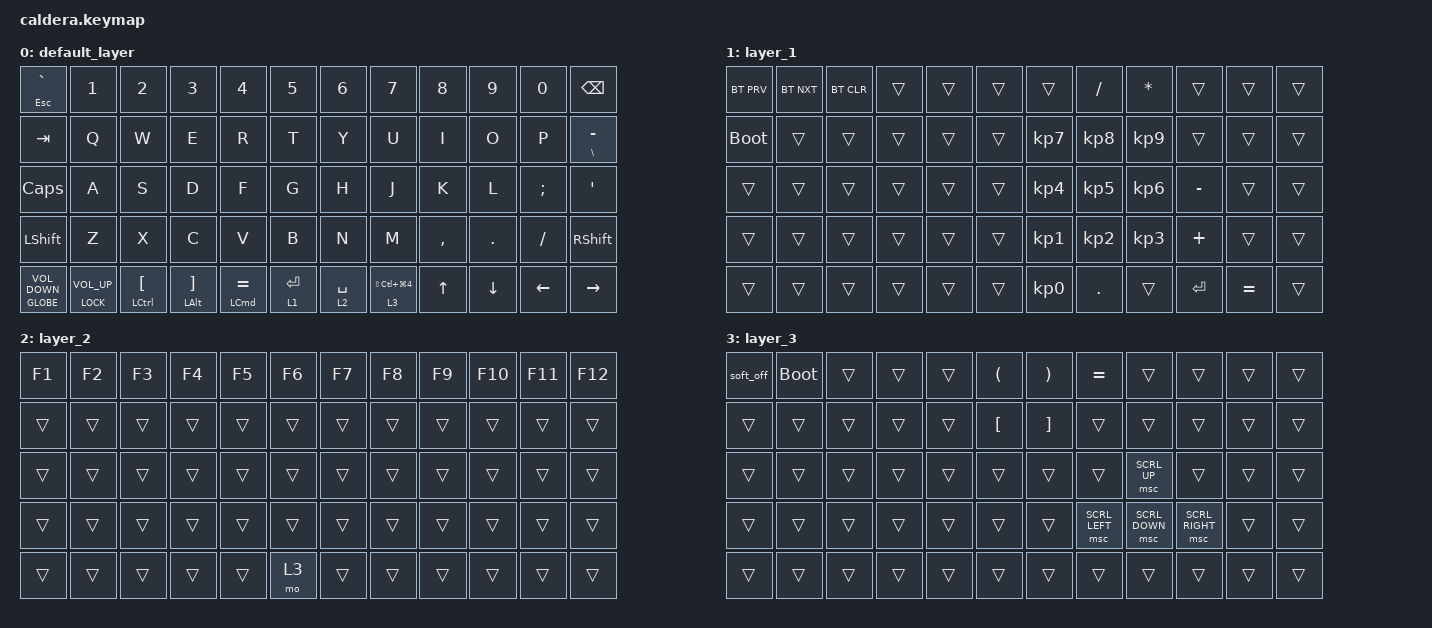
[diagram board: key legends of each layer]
#include <behaviors.dtsi>
#include <dt-bindings/zmk/bt.h>
#include <dt-bindings/zmk/keys.h>
#include <dt-bindings/zmk/pointing.h>

/ {
    macros {
        screenshot: screenshot {
            compatible = "zmk,behavior-macro";
            #binding-cells = <0>;
            bindings = <&kp LEFT_COMMAND &kp LEFT_CONTROL &kp LEFT_ALT &kp NUMBER_4>;
            label = "SCREENSHOT";
        };
    };

    keymap {
        compatible = "zmk,keymap";

        default_layer {
            // ---------------------------------------------------------------------------------
            // |   `  |  1  |  2  |  3  |  4  |  5  |     |  6  |  7  |  8  |  9  |  0  | BKSP |
            // |  TAB |  Q  |  W  |  E  |  R  |  T  |     |  Y  |  U  |  I  |  O  |  P  |  \   |
            // | CAPS |  A  |  S  |  D  |  F  |  G  |     |  H  |  J  |  K  |  L  |  ;  |  ENT |
            // | SHFT |  Z  |  X  |  C  |  V  |  B  |     |  N  |  M  |  ,  |  .  |  /  | APOS |
            // | CTRL | ALT | GUI | SPC | SPC | SPC |     | SPC | LOW |LARW |DARW |UARW | RARW |

            bindings = <
&mt ESCAPE GRAVE         &kp N1                  &kp N2                         &kp N3                      &kp N4                  &kp N5         &kp N6       &kp N7                      &kp N8        &kp N9    &kp N0          &kp BACKSPACE
&kp TAB                  &kp Q                   &kp W                          &kp E                       &kp R                   &kp T          &kp Y        &kp U                       &kp I         &kp O     &kp P           &mt BACKSLASH MINUS
&kp CAPS                 &kp A                   &kp S                          &kp D                       &kp F                   &kp G          &kp H        &kp J                       &kp K         &kp L     &kp SEMI        &kp SINGLE_QUOTE
&kp LSHFT                &kp Z                   &kp X                          &kp C                       &kp V                   &kp B          &kp N        &kp M                       &kp COMMA     &kp DOT   &kp FSLH        &kp RIGHT_SHIFT
&mt GLOBE C_VOLUME_DOWN  &mt K_LOCK C_VOLUME_UP  &mt LEFT_CONTROL LEFT_BRACKET  &mt LEFT_ALT RIGHT_BRACKET  &mt LEFT_COMMAND EQUAL  &lt 1 ENTER    &lt 2 SPACE  &lt 3 LS(LC(LG(NUMBER_4)))  &kp UP_ARROW  &kp DOWN  &kp LEFT_ARROW  &kp RIGHT
            >;
        };

        layer_1 {
            bindings = <
&bt BT_PRV   &bt BT_NXT  &bt BT_CLR  &trans  &trans  &trans    &trans           &kp FSLH         &kp ASTERISK     &trans     &trans     &trans
&bootloader  &trans      &trans      &trans  &trans  &trans    &kp KP_NUMBER_7  &kp KP_NUMBER_8  &kp KP_NUMBER_9  &trans     &trans     &trans
&trans       &trans      &trans      &trans  &trans  &trans    &kp KP_NUMBER_4  &kp KP_NUMBER_5  &kp KP_NUMBER_6  &kp MINUS  &trans     &trans
&trans       &trans      &trans      &trans  &trans  &trans    &kp KP_NUMBER_1  &kp KP_NUMBER_2  &kp KP_NUMBER_3  &kp PLUS   &trans     &trans
&trans       &trans      &trans      &trans  &trans  &trans    &kp KP_NUMBER_0  &kp DOT          &trans           &kp RET    &kp EQUAL  &trans
            >;
        };

        layer_2 {
            bindings = <
&kp F1  &kp F2  &kp F3  &kp F4  &kp F5  &kp F6    &kp F7  &kp F8  &kp F9  &kp F10  &kp F11  &kp F12
&trans  &trans  &trans  &trans  &trans  &trans    &trans  &trans  &trans  &trans   &trans   &trans
&trans  &trans  &trans  &trans  &trans  &trans    &trans  &trans  &trans  &trans   &trans   &trans
&trans  &trans  &trans  &trans  &trans  &trans    &trans  &trans  &trans  &trans   &trans   &trans
&trans  &trans  &trans  &trans  &trans  &mo 3     &trans  &trans  &trans  &trans   &trans   &trans
            >;
        };

        layer_3 {
            bindings = <
&soft_off  &bootloader  &trans  &trans  &trans  &kp LEFT_PARENTHESIS    &kp RIGHT_PARENTHESIS  &kp EQUAL       &trans          &trans           &trans  &trans
&trans     &trans       &trans  &trans  &trans  &kp LEFT_BRACKET        &kp RIGHT_BRACKET      &trans          &trans          &trans           &trans  &trans
&trans     &trans       &trans  &trans  &trans  &trans                  &trans                 &trans          &msc SCRL_UP    &trans           &trans  &trans
&trans     &trans       &trans  &trans  &trans  &trans                  &trans                 &msc SCRL_LEFT  &msc SCRL_DOWN  &msc SCRL_RIGHT  &trans  &trans
&trans     &trans       &trans  &trans  &trans  &trans                  &trans                 &trans          &trans          &trans           &trans  &trans
            >;
        };
    };
};
